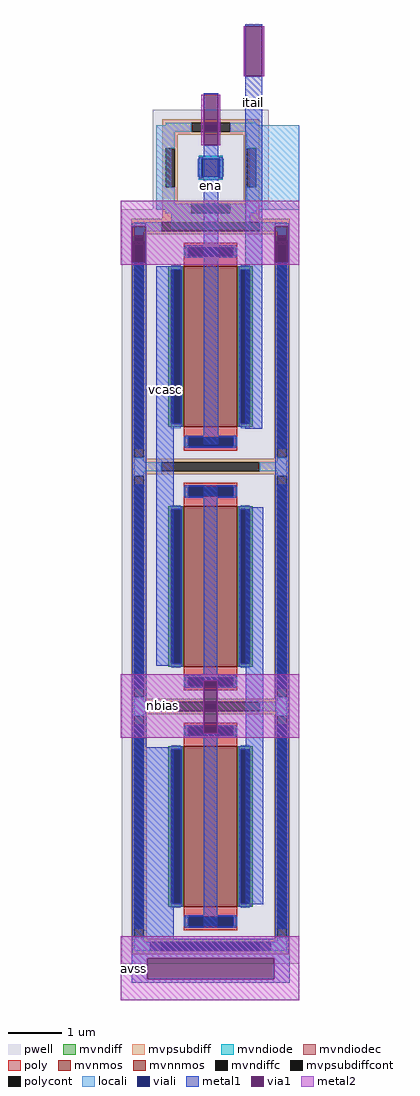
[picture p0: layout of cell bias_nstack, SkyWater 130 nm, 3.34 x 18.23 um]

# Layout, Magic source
magic
tech sky130A
magscale 1 2
<< mvpsubdiff >>
rect 3414 57 3776 67
<< locali >>
rect 3392 114 3448 406
rect 3742 114 3926 406
rect 3392 92 3926 114
rect 3448 20 3742 92
<< metal1 >>
rect 3724 777 3788 785
rect 3568 521 3622 527
rect 3300 30 3352 40
rect 3352 -106 3353 26
rect 3300 -112 3353 -106
rect 3301 -1916 3353 -112
rect 3392 -1611 3456 -119
rect 3568 -784 3622 333
rect 3724 -726 3788 589
rect 3834 32 3886 40
rect 3834 30 3887 32
rect 3886 -106 3887 30
rect 3834 -112 3887 -106
rect 3568 -1667 3620 -938
rect 3301 -2632 3456 -1916
rect 3568 -2584 3620 -1863
rect 3726 -2502 3790 -1019
rect 3568 -2586 3616 -2584
rect 3835 -2632 3887 -112
rect 3301 -2690 3887 -2632
rect 3300 -2704 3890 -2690
rect 3300 -2782 3358 -2704
rect 3832 -2782 3890 -2704
rect 3300 -2796 3890 -2782
<< via1 >>
rect 3724 589 3788 777
rect 3568 333 3622 521
rect 3300 -106 3352 30
rect 3834 -106 3886 30
rect 3568 -1863 3620 -1667
rect 3358 -2782 3832 -2704
<< metal2 >>
rect 3718 589 3724 777
rect 3788 589 3794 777
rect 3560 333 3568 521
rect 3622 333 3631 521
rect 3258 30 3926 124
rect 3258 -106 3300 30
rect 3352 -106 3834 30
rect 3886 -106 3926 30
rect 3258 -114 3926 -106
rect 3258 -1667 3926 -1643
rect 3258 -1863 3568 -1667
rect 3620 -1863 3926 -1667
rect 3258 -1881 3926 -1863
rect 3258 -2704 3926 -2622
rect 3258 -2782 3358 -2704
rect 3832 -2782 3926 -2704
rect 3258 -2860 3926 -2782
use sky130_fd_pr__diode_pw2nd_11v0_QK8PWZ  XD1 paramcells
transform 1 0 3595 0 1 248
box -217 -217 217 217
use sky130_fd_pr__nfet_05v0_nvt_QRKT8A  XM6 paramcells
transform 1 0 3594 0 1 -1316
box -332 -513 332 513
use sky130_fd_pr__nfet_g5v0d10v5_ZMKT8B  XM7 paramcells
transform 1 0 3594 0 1 -420
box -332 -513 332 513
use sky130_fd_pr__nfet_g5v0d10v5_C3WBNC  XM12 paramcells
transform 1 0 3594 0 1 -2212
box -332 -513 332 513
<< labels >>
flabel metal1 3392 -612 3456 -550 0 FreeSans 560 90 0 0 vcasc
port 5 nsew
flabel metal2 3258 -2860 3358 -2622 0 FreeSans 560 90 0 0 avss
port 1 nsew
flabel metal2 3262 -1881 3568 -1643 0 FreeSans 560 0 0 0 nbias
port 4 nsew
flabel metal1 3568 154 3622 208 0 FreeSans 560 0 0 0 ena
port 3 nsew
flabel metal1 3724 440 3788 542 0 FreeSans 560 90 0 0 itail
port 2 nsew
<< end >>

# cell sky130_fd_pr__diode_pw2nd_11v0_QK8PWZ: kit device sky130_fd_pr__diode_pw2nd_11v0, w 0.45 l 0.45 area 202.5m peri 1.8 nx 1 ny 1 dummy 0 lmin 0.45 wmin 0.45 class diode elc 1 erc 1 etc 1 ebc 1 doverlap 0 compatible {sky130_fd_pr__diode_pw2nd_05v5 sky130_fd_pr__diode_pw2nd_05v5_lvt sky130_fd_pr__diode_pw2nd_05v5_nvt sky130_fd_pr__diode_pw2nd_11v0} full_metal 1 vias 1 viagb 0 viagt 0 viagl 0 viagr 0 doports 1

# cell sky130_fd_pr__nfet_05v0_nvt_QRKT8A: kit device sky130_fd_pr__nfet_05v0_nvt, w 3.0 l 1.0 m 1 nf 1 diffcov 100 polycov 100 guard 1 glc 1 grc 1 gtc 1 gbc 1 tbcov 100 rlcov 100 topc 1 botc 1 poverlap 0 doverlap 1 lmin 0.90 wmin 0.42 compatible {sky130_fd_pr__nfet_01v8 sky130_fd_pr__nfet_01v8_lvt sky130_fd_bs_flash__special_sonosfet_star sky130_fd_pr__nfet_g5v0d10v5 sky130_fd_pr__nfet_05v0_nvt sky130_fd_pr__nfet_03v3_nvt} full_metal 1 viasrc 100 viadrn 100 viagate 100 viagb 0 viagr 80 viagl 80 viagt 0

# cell sky130_fd_pr__nfet_g5v0d10v5_ZMKT8B: kit device sky130_fd_pr__nfet_g5v0d10v5, w 3.0 l 1.0 m 1 nf 1 diffcov 100 polycov 100 guard 1 glc 1 grc 1 gtc 1 gbc 1 tbcov 100 rlcov 100 topc 1 botc 1 poverlap 0 doverlap 1 lmin 0.50 wmin 0.42 compatible {sky130_fd_pr__nfet_01v8 sky130_fd_pr__nfet_01v8_lvt sky130_fd_bs_flash__special_sonosfet_star sky130_fd_pr__nfet_g5v0d10v5 sky130_fd_pr__nfet_05v0_nvt sky130_fd_pr__nfet_03v3_nvt} full_metal 1 viasrc 100 viadrn 100 viagate 100 viagb 0 viagr 80 viagl 80 viagt 0

# cell sky130_fd_pr__nfet_g5v0d10v5_C3WBNC: kit device sky130_fd_pr__nfet_g5v0d10v5, w 3.0 l 1.0 m 1 nf 1 diffcov 100 polycov 100 guard 1 glc 1 grc 1 gtc 1 gbc 1 tbcov 100 rlcov 100 topc 1 botc 1 poverlap 0 doverlap 1 lmin 0.50 wmin 0.42 compatible {sky130_fd_pr__nfet_01v8 sky130_fd_pr__nfet_01v8_lvt sky130_fd_bs_flash__special_sonosfet_star sky130_fd_pr__nfet_g5v0d10v5 sky130_fd_pr__nfet_05v0_nvt sky130_fd_pr__nfet_03v3_nvt} full_metal 1 viasrc 100 viadrn 100 viagate 100 viagb 90 viagr 80 viagl 80 viagt 0
